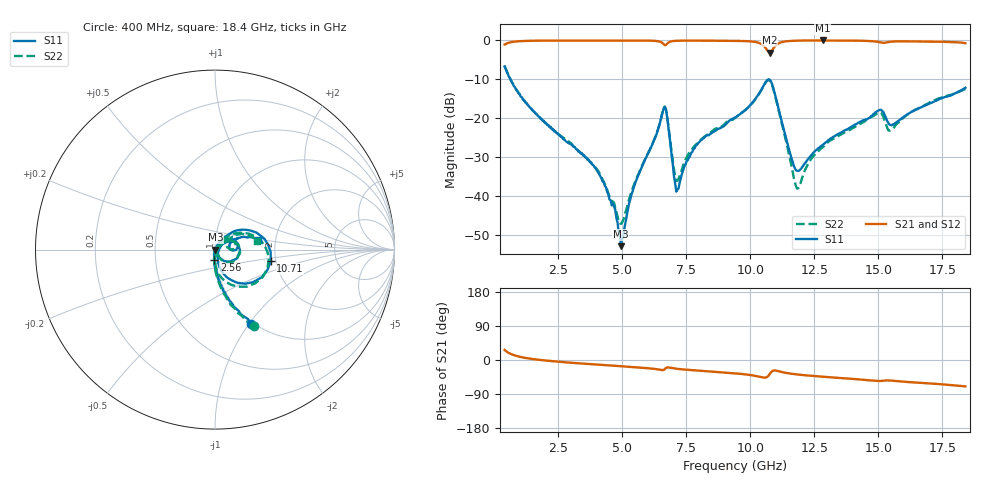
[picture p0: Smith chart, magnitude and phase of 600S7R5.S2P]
!  American Technical Ceramics  Date:  4/26/2005
!  One Norden Lane
!  Huntington Station,  NY.  11746-2102
!  Tel:  (631) 622-4700  Fax:  (631) 622-4748
!  Part Number  600S7R5  Mounting Orientation: Horizontal
!  Description: Ultra Low ESR Microwave capacitors
!  Application: Coupling, Bypass, Tuning, DC Block
!  Filters, Matching
# GHZ S DB R 50
! Freq  |S11|  S11 Ph  |S21|  S21 Ph  |S12|  S12 Ph  |S22|  S22 Ph
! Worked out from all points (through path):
!   401 points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, 400 MHz to 18.4 GHz, reference 50 ohm
!   highest |S21| = 0.00 dB at 12.82 GHz (marker M1); lowest = -3.1 dB at 10.75 GHz (marker M2)
!   group delay of S21, straight-line fit = 11.3 ps
!   lowest |S11| = -52.9 dB at 4.945 GHz (marker M3), VSWR 1.00, Z = 50.2 - j0.0878 ohm
!   |S11| at or under -10 dB: 628.7 MHz to 10.7 GHz (10.07 GHz wide, 178 % of centre); 10.71 GHz to end of sweep
!   |S22| runs from -47.2 to -6.5 dB; largest |S21 - S12| = 0.019
!   S11 on the Smith chart (normalised r, x): 400 MHz: 0.97, -1.03; 2.56 GHz: 0.99, -0.12; 10.71 GHz: 1.88, -0.26; 18.4 GHz: 1.62, +0.19
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0.4  -6.72 -63.9  -1.05 26.6  -0.90 26.0  -6.46 -62.9
1.12  -15.23 -83.3  -0.14 6.7  -0.12 5.7  -15.06 -84.1
2.56  -24.42 -93.4  -0.02 -4.8  -0.06 -5.1  -24.38 -94.0
3.415  -28.98 -95.8  -0.02 -9.3  -0.05 -9.4  -29.06 -96.3
4.27  -36.42 -99.0  -0.01 -13.2  -0.04 -13.3  -36.34 -97.3
4.945  -52.92 -22.8  -0.01 -16.3  -0.03 -16.4  -47.18 -22.1
5.44  -37.91 59.2  -0.02 -18.7  -0.03 -18.7  -37.36 44.6
6.43  -22.13 47.2  -0.23 -25.2  -0.22 -25.3  -21.96 40.7
6.7  -17.68 -23.2  -1.18 -21.4  -1.19 -21.7  -17.60 -27.0
7.15  -38.38 2.0  -0.08 -23.4  -0.11 -23.4  -36.06 -5.1
7.96  -26.38 58.3  -0.04 -28.0  -0.06 -28.0  -26.17 47.0
9.4  -19.84 49.2  -0.11 -35.2  -0.13 -35.2  -19.96 46.2
10.39  -13.12 29.1  -0.78 -44.7  -0.79 -44.6  -13.23 22.6
10.705  -9.98 -11.4  -2.91 -41.8  -2.91 -41.6  -10.17 -19.8
10.75  -10.07 -21.0  -3.10 -37.7  -3.07 -37.6  -10.25 -29.6
11.11  -17.82 -72.6  -0.72 -29.8  -0.72 -29.8  -18.16 -83.3
11.785  -33.40 -30.6  -0.06 -37.8  -0.07 -37.8  -37.54 -44.2
12.415  -29.27 28.0  -0.02 -41.9  -0.01 -41.9  -30.07 34.3
12.82  -26.86 34.4  0.00 -44.1  -0.01 -44.0  -27.50 39.5
15.025  -17.94 14.4  -0.41 -55.5  -0.42 -55.1  -18.60 17.4
15.43  -21.65 4.2  -0.36 -54.0  -0.35 -53.8  -23.22 14.5
18.4  -12.18 12.9  -0.70 -69.7  -0.69 -69.9  -12.50 12.2
